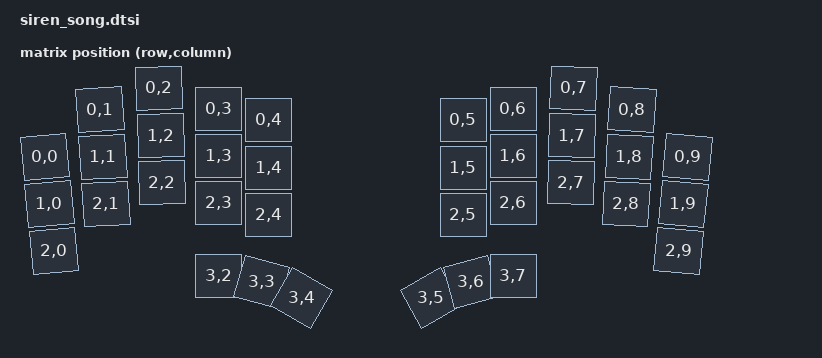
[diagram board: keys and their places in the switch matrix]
#include <dt-bindings/zmk/matrix_transform.h>
#include <physical_layouts.dtsi>

/ {
    kscan0: kscan {
        compatible = "zmk,kscan-gpio-matrix";
        diode-direction = "col2row";
        wakeup-source;
    };

    default_transform: keymap_transform0 {
        compatible = "zmk,matrix-transform";
        columns = <10>;
        rows = <4>;

        map = <
RC(0,0) RC(0,1) RC(0,2) RC(0,3) RC(0,4)                 RC(0,5) RC(0,6) RC(0,7) RC(0,8) RC(0,9)
RC(1,0) RC(1,1) RC(1,2) RC(1,3) RC(1,4)                 RC(1,5) RC(1,6) RC(1,7) RC(1,8) RC(1,9)
RC(2,0) RC(2,1) RC(2,2) RC(2,3) RC(2,4)                 RC(2,5) RC(2,6) RC(2,7) RC(2,8) RC(2,9)
                        RC(3,2) RC(3,3) RC(3,4) RC(3,5) RC(3,6) RC(3,7)
        >;
    };

    default_layout: default_layout {
        compatible = "zmk,physical-layout";
        display-name = "Default Layout";
        transform = <&default_transform>;
        kscan = <&kscan0>;
        keys = <&key_physical_attrs 100 94 0 138 (-550) 50 88>
             , <&key_physical_attrs 100 94 114 43 (-350) 164 (-7)>
             , <&key_physical_attrs 100 94 235 0 (-150) 285 (-50)>
             , <&key_physical_attrs 100 94 357 41 0 407 (-9)>
             , <&key_physical_attrs 100 94 457 64 0 507 14>
             , <&key_physical_attrs 100 94 846 64 0 896 14>
             , <&key_physical_attrs 100 94 946 41 0 996 (-9)>
             , <&key_physical_attrs 100 94 1069 0 (150) 1119 (-50)>
             , <&key_physical_attrs 100 94 1189 43 (350) 1239 (-7)>
             , <&key_physical_attrs 100 94 1304 138 (550) 1354 88>
             , <&key_physical_attrs 100 94 9 232 (-550) 59 182>
             , <&key_physical_attrs 100 94 120 138 (-350) 170 88>
             , <&key_physical_attrs 100 94 238 95 (-150) 288 35>
             , <&key_physical_attrs 100 94 357 135 0 407 85>
             , <&key_physical_attrs 100 94 457 159 0 507 109>
             , <&key_physical_attrs 100 94 846 159 0 896 109>
             , <&key_physical_attrs 100 94 946 135 0 996 85>
             , <&key_physical_attrs 100 94 1066 95 (150) 1116 45>
             , <&key_physical_attrs 100 94 1184 138 (350) 1234 88>
             , <&key_physical_attrs 100 94 1295 232 (550) 1345 182>
             , <&key_physical_attrs 100 94 18 326 (-550) 68 276>
             , <&key_physical_attrs 100 94 126 232 (-350) 176 182>
             , <&key_physical_attrs 100 94 240 189 (-150) 290 139>
             , <&key_physical_attrs 100 94 357 230 0 407 180>
             , <&key_physical_attrs 100 94 457 253 0 507 203>
             , <&key_physical_attrs 100 94 846 253 0 896 203>
             , <&key_physical_attrs 100 94 946 230 0 996 180>
             , <&key_physical_attrs 100 94 1064 189 (150) 1114 139>
             , <&key_physical_attrs 100 94 1178 232 (350) 1228 182>
             , <&key_physical_attrs 100 94 1286 326 (550) 1336 276>
             , <&key_physical_attrs 100 94 357 376 0 407 326>
             , <&key_physical_attrs 100 94 468 391 (1500) 518 341>
             , <&key_physical_attrs 100 94 571 433 (3000) 621 383>
             , <&key_physical_attrs 100 94 733 433 (-3000) 783 383>
             , <&key_physical_attrs 100 94 836 391 (-1500) 886 341>
             , <&key_physical_attrs 100 94 946 376 0 996 326>
             ;
    };

    chosen {
        zmk,physical-layout = &default_layout;
    };
};
